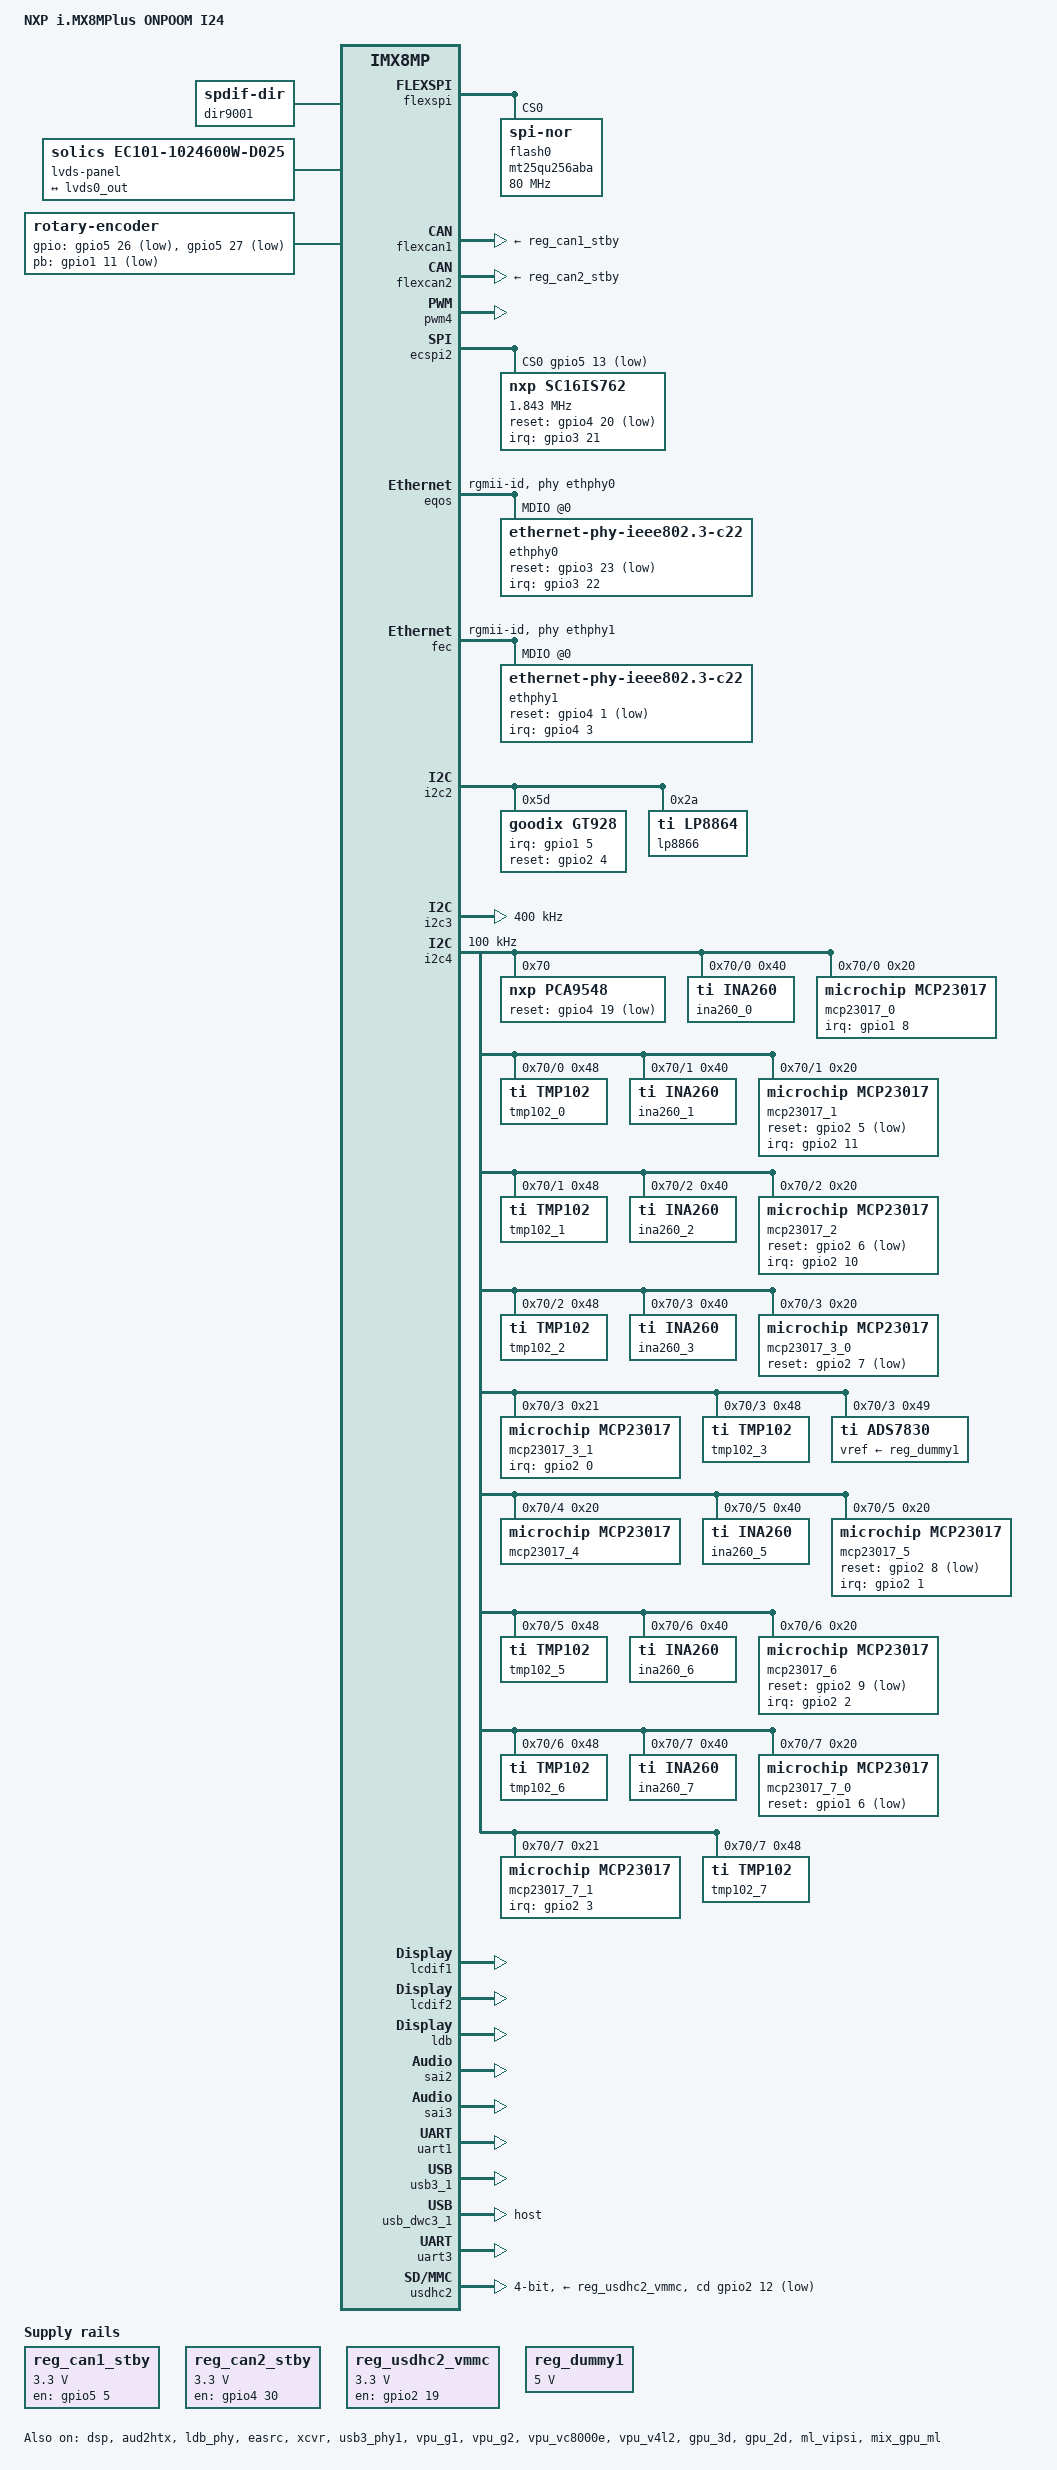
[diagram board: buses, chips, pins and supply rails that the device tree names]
// SPDX-License-Identifier: (GPL-2.0+ OR MIT)
/*
 * Copyright 2019 NXP
 * Copyright 2025 ONPOOM
 */

 /* TODO
  * 
  * [] 2026.01.30 - 노드 별 인터럽트 및 리셋 핀에 대한 PAD 설정 확인 (핀 민감도 제거 및 신호 안정성 적용 고려하여)
  *
  */

/dts-v1/;

#include "imx8mp-onpoom-som.dts"
#include <dt-bindings/leds/common.h>

/ {
	model = "NXP i.MX8MPlus ONPOOM I24";
	compatible = "fsl,imx8mp-evk", "fsl,imx8mp", "onpoom,imx8mp-onpoom-som";

	reg_can1_stby: regulator-can1-stby {
		compatible = "regulator-fixed";
		regulator-name = "can1-stby";
		pinctrl-names = "default";
		pinctrl-0 = <&pinctrl_flexcan1_reg>;
		regulator-min-microvolt = <3300000>;
		regulator-max-microvolt = <3300000>;
		gpio = <&gpio5 5 GPIO_ACTIVE_HIGH>;
		enable-active-high;
	};

	reg_can2_stby: regulator-can2-stby {
		compatible = "regulator-fixed";
		regulator-name = "can2-stby";
		pinctrl-names = "default";
		pinctrl-0 = <&pinctrl_flexcan2_reg>;
		regulator-min-microvolt = <3300000>;
		regulator-max-microvolt = <3300000>;
		gpio = <&gpio4 30 GPIO_ACTIVE_HIGH>;
		enable-active-high;
	};

	reg_usdhc2_vmmc: regulator-usdhc2 {
		compatible = "regulator-fixed";
		pinctrl-names = "default";
		pinctrl-0 = <&pinctrl_reg_usdhc2_vmmc>;
		regulator-name = "VSD2_3V3";
		regulator-min-microvolt = <3300000>;
		regulator-max-microvolt = <3300000>;
		gpio = <&gpio2 19 GPIO_ACTIVE_HIGH>;
		enable-active-high;
	};

    reg_dummy1: regulator-dummy1 {
        compatible = "regulator-fixed";
        regulator-name = "ads7830-vref";
        regulator-min-microvolt = <5000000>;
        regulator-max-microvolt = <5000000>;
    };

	// reg_panel_pwr: regulator-panel-pwr {
	// 	compatible = "regulator-fixed";
	// 	pinctrl-names = "default";
	// 	pinctrl-0 = <&pinctrl_panel_reg>;
	// 	regulator-name = "PANEL_PWR_1V8";
	// 	regulator-min-microvolt = <1800000>;
	// 	regulator-max-microvolt = <1800000>;
	// 	gpio = <&gpio2 4 GPIO_ACTIVE_HIGH>;
	// 	//gpio = <&gpio4 28 GPIO_ACTIVE_HIGH>;
	// 	//gpio = <&mcp23017_3 2 GPIO_ACTIVE_HIGH>;
	// 	// gpio = <&mcp23017_2 8 GPIO_ACTIVE_HIGH>;
	// 	enable-active-high;
	// };

	// max98357a: max98357a {
	// 	#sound-dai-cells = <0>;
	// 	compatible = "maxim,max98357a";
	// 	//pinctrl-names = "default";
	// 	//pinctrl-0;
	// 	//sdmode-gpios;
	// 	status = "okay";
	// };

	// sound-max98357a {
	// 	compatible = "simple-audio-card";
	// 	simple-audio-card,name = "max98357a-audio";
	// 	simple-audio-card,format = "i2s";
	// 	simple-audio-card,bitclock-master = <&sai3cpu>;
	// 	simple-audio-card,frame-master = <&sai3cpu>;
	// 	simple-audio-card,routing = 
	// 				"SD_MODE", "HiFi Playback",
	// 				"Speaker", "SD_MODE";

	// 	sai3cpu: simple-audio-card,cpu {
	// 		sound-dai = <&sai3>;
	// 	};

	// 	simple-audio-card,codec {
	// 		sound-dai = <&max98357a>;
	// 	};
	// };

    /* Monitor Speaker */
    bd28623: bd28623 {
		#sound-dai-cells = <0>;
        compatible = "rohm,bd28623";
        // reset-gpios = <&mcp23017_3_0 10 GPIO_ACTIVE_LOW>;
        // mute-gpios = <&mcp23017_3_0 9 GPIO_ACTIVE_LOW>;
    };

	sound-bd28623 {
		compatible = "simple-audio-card";
		simple-audio-card,name = "bd28623-audio";
		simple-audio-card,format = "i2s";
		simple-audio-card,bitclock-master = <&sai3cpu>;
		simple-audio-card,frame-master = <&sai3cpu>;

		sai3cpu: simple-audio-card,cpu {
			sound-dai = <&sai3>;
		};

		simple-audio-card,codec {
			sound-dai = <&bd28623>;
		};
	};

	// sound-adau1442 {
	// 	compatible = "simple-audio-card";
	// 	simple-audio-card,name = "adau1442-audio";
	// 	simple-audio-card,format = "i2s";
	// 	simple-audio-card,bitclock-master = <&sai3cpu>;
	// 	simple-audio-card,frame-master = <&sai3cpu>;

	// 	sai3cpu: simple-audio-card,cpu {
	// 		sound-dai = <&sai3>;
	// 	};

	// 	simple-audio-card,codec {
	// 		sound-dai = <&adau1442>;
	// 	};
	// };

	dir9001: dir9001 {
		#sound-dai-cells = <0>;
		compatible = "linux,spdif-dir";
		status = "okay";
	};

	sound-dir9001 {
		compatible = "simple-audio-card";
		simple-audio-card,name = "dir9001-audio";
		simple-audio-card,format = "i2s";
		simple-audio-card,bitclock-master = <&dir9001_codec>;
		simple-audio-card,frame-master = <&dir9001_codec>;
		/* Later, will add gpio control function,
		 * example, for i2s signal enable pin.
		 */
		simple-audio-card,routing = 
					"Capture", "spdif-in";

		simple-audio-card,cpu {
			sound-dai = <&sai2>;
		};

		dir9001_codec: simple-audio-card,codec {
			sound-dai = <&dir9001>;
		};
	};

	// sound-xcvr {
	// 	compatible = "fsl,imx-audio-card";
	// 	model = "imx-audio-xcvr";
	// 	pri-dai-link {
	// 		link-name = "XCVR PCM";
	// 		cpu {
	// 			sound-dai = <&xcvr>;
	// 		};
	// 	};
	// };
/*
	lvds_backlight: lvds_backlight {
		compatible = "pwm-backlight";
		pwms = <&pwm2 0 100000>;
		status = "disabled";

		brightness-levels = < 0  1  2  3  4  5  6  7  8  9
				     10 11 12 13 14 15 16 17 18 19
				     20 21 22 23 24 25 26 27 28 29
				     30 31 32 33 34 35 36 37 38 39
				     40 41 42 43 44 45 46 47 48 49
				     50 51 52 53 54 55 56 57 58 59
				     60 61 62 63 64 65 66 67 68 69
				     70 71 72 73 74 75 76 77 78 79
				     80 81 82 83 84 85 86 87 88 89
				     90 91 92 93 94 95 96 97 98 99
				    100>;
		default-brightness-level = <80>;
	};
*/
	lvds-panel {
		compatible = "solics,ec101-1024600w-d025";
		status = "okay";
		// power-supply = <&reg_panel_pwr>;

		port {
			lvds0_in: endpoint {
				remote-endpoint = <&lvds0_out>;
			};
		};
	};

	rotary-encoder {
		compatible = "rotary-encoder";
		pinctrl-names = "default";
		pinctrl-0 = <&pinctrl_rotary_encoder>;
		gpios = <&gpio5 26 GPIO_ACTIVE_LOW>, <&gpio5 27 GPIO_ACTIVE_LOW>;
		linux,axis = <0>;
		rotary-encoder,steps-per-period = <1>;
		rotary-encoder,encoding = "gray";
		rotary-encoder,relative-axis;
		rotary-encoder,push-button;
		pb-gpios = <&gpio1 11 GPIO_ACTIVE_LOW>;
	};
};

&pwm_leds {
	cpld-osc {
		label = "cpld-oscillator";
		pwms = <&pwm4 0 100000000>;
		max-brightness = <100>;
	};
};

&flexspi {
	pinctrl-names = "default";
	pinctrl-0 = <&pinctrl_flexspi0>;
	status = "okay";

	flash0: mt25qu256aba@0 {
		reg = <0>;
		#address-cells = <1>;
		#size-cells = <1>;
		compatible = "jedec,spi-nor";
		spi-max-frequency = <80000000>;
		spi-tx-bus-width = <1>;
		spi-rx-bus-width = <4>;
	};
};

&flexcan1 {
	pinctrl-names = "default";
	pinctrl-0 = <&pinctrl_flexcan1>;
	xceiver-supply = <&reg_can1_stby>;
	status = "okay";
};

&flexcan2 {
	pinctrl-names = "default";
	pinctrl-0 = <&pinctrl_flexcan2>;
	xceiver-supply = <&reg_can2_stby>;
	//pinctrl-assert-gpios = <&pca6416 3 GPIO_ACTIVE_HIGH>;
	status = "okay";/* can2 pin conflict with pdm */
};

&dsp {
	status = "okay";
};

&pwm4 {
	pinctrl-names = "default";
	pinctrl-0 = <&pinctrl_pwm4>;
	status = "okay";
};

&aud2htx {
	status = "okay";
};

&ecspi2 {
	#address-cells = <1>;
	#size-cells = <0>;
	fsl,spi-num-chipselects = <1>;
	pinctrl-names = "default";
	pinctrl-0 = <&pinctrl_ecspi2 &pinctrl_ecspi2_cs>;
	cs-gpios = <&gpio5 13 GPIO_ACTIVE_LOW>;
	status = "okay";

    sc16is762: sc16is762@0 {
        compatible = "nxp,sc16is762";
        pinctrl-names = "default";
        pinctrl-0 = <&pinctrl_sc16is762>;
        reg = <0>;
        clock-frequency = <1843200>;
        interrupt-parent = <&gpio3>;
        interrupts = <21 IRQ_TYPE_LEVEL_LOW>;
        reset-gpios = <&gpio4 20 GPIO_ACTIVE_LOW>;
        gpio-controller;
        #gpio-cells = <2>;
    };

	// gpiom1: gpio@0 {
	// 	reg = <0>;
	// 	compatible = "microchip,mcp23s17";
	// 	pinctrl-names = "default";
	// 	pinctrl-0 = <&pinctrl_mcp23s17>;
	// 	gpio-controller;
	// 	#gpio-cells = <2>;
	// 	/* for h/w address pin a2, a1, a0
	// 	 * if 0b100(a2(1), a1(0), a0(0)) excluded fixed-bit, 
	// 	 * address is 4, So, mask is 0b00010000 (4th bit to 1).
	// 	 * therefore, mask is 0x10.
	// 	 */
	// 	microchip,spi-present-mask = <0x10>;
	// 	//interrupt-parent;
	// 	//interrupts;
	// 	//microchip,irq-mirror;
	// 	reset-gpios = <&gpio4 24 GPIO_ACTIVE_LOW>;
	// 	spi-max-frequency = <1000000>;		/* 10mhz */
	// };
/*
	spidev1: spi@1 {
		reg = <1>;
		compatible = "rohm,dh2228fv";
	};
*/
};

&eqos {
	pinctrl-names = "default";
	pinctrl-0 = <&pinctrl_eqos>;
	phy-mode = "rgmii-id";
	phy-handle = <&ethphy0>;
	snps,force_thresh_dma_mode;
	snps,mtl-tx-config = <&mtl_tx_setup>;
	snps,mtl-rx-config = <&mtl_rx_setup>;
	status = "okay";

	mdio {
		compatible = "snps,dwmac-mdio";
		#address-cells = <1>;
		#size-cells = <0>;

		ethphy0: ethernet-phy@0 {
			compatible = "ethernet-phy-ieee802.3-c22";
			//reg = <0>;
            interrupt-parent = <&gpio3>;
            // interrupts = <22 IRQ_TYPE_EDGE_FALLING>;
            interrupts = <22 IRQ_TYPE_LEVEL_LOW>;
            // interrupt-parent = <&gpio4>;
            // interrupts = <3 IRQ_TYPE_EDGE_FALLING>;
			eee-broken-1000t;
			reset-gpios = <&gpio3 23 GPIO_ACTIVE_LOW>;
			reset-assert-us = <10000>;
			reset-deassert-us = <20000>;
			qca,disable-smarteee;
		};
	};

	mtl_tx_setup: tx-queues-config {
		snps,tx-queues-to-use = <5>;
		snps,tx-sched-sp;
		queue0 {
			snps,dcb-algorithm;
			snps,priority = <0x1>;
		};
		queue1 {
			snps,dcb-algorithm;
			snps,priority = <0x2>;
		};
		queue2 {
			snps,dcb-algorithm;
			snps,priority = <0x4>;
		};
		queue3 {
			snps,dcb-algorithm;
			snps,priority = <0x8>;
		};
		queue4 {
			snps,dcb-algorithm;
			snps,priority = <0xf0>;
		};
	};
	mtl_rx_setup: rx-queues-config {
		snps,rx-queues-to-use = <5>;
		snps,rx-sched-sp;
		queue0 {
			snps,dcb-algorithm;
			snps,priority = <0x1>;
			snps,map-to-dma-channel = <0>;
		};
		queue1 {
			snps,dcb-algorithm;
			snps,priority = <0x2>;
			snps,map-to-dma-channel = <1>;
		};
		queue2 {
			snps,dcb-algorithm;
			snps,priority = <0x4>;
			snps,map-to-dma-channel = <2>;
		};
		queue3 {
			snps,dcb-algorithm;
			snps,priority = <0x8>;
			snps,map-to-dma-channel = <3>;
		};
		queue4 {
			snps,dcb-algorithm;
			snps,priority = <0xf0>;
			snps,map-to-dma-channel = <4>;
		};
	};
};

&fec {
	pinctrl-names = "default";
	pinctrl-0 = <&pinctrl_fec>;
	phy-mode = "rgmii-id";
	phy-handle = <&ethphy1>;
	fsl,magic-packet;
	status = "okay";

	mdio {
		#address-cells = <1>;
		#size-cells = <0>;

		ethphy1: ethernet-phy@0 {
			compatible = "ethernet-phy-ieee802.3-c22";
			// reg = <4>;
            interrupt-parent = <&gpio4>;
            // interrupts = <3 IRQ_TYPE_EDGE_FALLING>;
            interrupts = <3 IRQ_TYPE_LEVEL_LOW>;
            // interrupt-parent = <&gpio3>;
            // interrupts = <22 IRQ_TYPE_EDGE_FALLING>;
			eee-broken-1000t;
			reset-gpios = <&gpio4 1 GPIO_ACTIVE_LOW>;
			reset-assert-us = <10000>;
			reset-deassert-us = <20000>;
			qca,disable-smarteee;
		};
	};
};

&i2c2 {
	gt928: touchscreen@5d {
		compatible = "goodix,gt928";
		reg = <0x5d>;
		pinctrl-names = "default";
		pinctrl-0 = <&pinctrl_ts>;
		interrupt-parent = <&gpio1>;
		interrupts = <5 IRQ_TYPE_EDGE_FALLING>;
		irq-gpios = <&gpio1 5 GPIO_ACTIVE_HIGH>;
        // interrupt-parent = <&gpio4>;
		// interrupts = <25 IRQ_TYPE_EDGE_FALLING>;
		// irq-gpios = <&gpio4 25 GPIO_ACTIVE_LOW>;
		reset-gpios = <&gpio2 4 GPIO_ACTIVE_HIGH>;
		//reset-gpios = <&gpio2 0 GPIO_ACTIVE_HIGH>;
		edge-failling-trigger;
		touchscreen-size-x = <1024>;
		touchscreen-size-y = <600>;
	};

	lp8866: led-driver@2a {
		compatible = "ti,lp8864";
		reg = <0x2a>;
		// pinctrl-names = "default";
        // enable-gpios = <&mcp23017_3_0 1 GPIO_ACTIVE_HIGH>;

        led {
            function = LED_FUNCTION_BACKLIGHT;
            color = <LED_COLOR_ID_WHITE>;
            linux,default-trigger = "backlight";
        };
	};
};

&i2c3 {
	clock-frequency = <400000>;
	pinctrl-names = "default";
	pinctrl-0 = <&pinctrl_i2c3>;
	status = "okay";

	adau1442: dsp@38 {
        #sound-dai-cells = <0>;
		compatible = "adi,adau1442";
		reg = <0x38>;
		pinctrl-names = "default";
        status = "disabled";
	};
};

&i2c4 {
	clock-frequency = <100000>;
	pinctrl-names = "default";
	pinctrl-0 = <&pinctrl_i2c4>;
	status = "okay";

	pca9548: i2c-mux@70 {
		compatible = "nxp,pca9548";
		#address-cells = <1>;
		#size-cells = <0>;
		reg = <0x70>;
		reset-gpios = <&gpio4 19 GPIO_ACTIVE_LOW>;
        idle-state;
		i2c-mux-idle-disconnect;		/* when devices are same addr, this option is useful. */

		/* MCU channel */
        /* i2c-6 */
		i2c@0 {
            #address-cells = <1>;
            #size-cells = <0>;
			reg = <0>;

			ina260_0: power-sensor@40 {
				compatible = "ti,ina260";
				reg = <0x40>;
			};

			/* Afterwards, the interrupt method is considered to change from edge to level because of numorous i2c-io expander. */
			/* labeling... */
			mcp23017_0: gpio@20 {
				compatible = "microchip,mcp23017";
				reg = <0x20>;
				pinctrl-name = "default";
				pinctrl-0 = <&pinctrl_mcp23017_0>;
				gpio-controller;
				#gpio-cells = <2>;
				interrupt-controller;
				#interrupt-cells = <2>;
				interrupt-parent = <&gpio1>;
				interrupts = <8 IRQ_TYPE_LEVEL_LOW>;
				// reset-gpios = <&gpio1 7 GPIO_ACTIVE_LOW>;
                drive-open-drain;
                microchip,irq-mirror;
                // gpio-line-names = 
                //     "a", "b", "c", "d", 
                //     "e", "f", "g", "h", 
                //     "i", "j", "k", "l", 
                //     "m", "n", "o", "p";
			};

			tmp102_0: temper-sensor@48 {
				compatible = "ti,tmp102";
				reg = <0x48>;
			};
		};

		/* SAT channel */
        /* i2c-7 */
		i2c@1 {
            #address-cells = <1>;
            #size-cells = <0>;
			reg = <1>;

			ina260_1: power-sensor@40 {
				compatible = "ti,ina260";
				reg = <0x40>;
			};

			mcp23017_1: gpio@20 {
				compatible = "microchip,mcp23017";
				reg = <0x20>;
				pinctrl-name = "default";
				pinctrl-0 = <&pinctrl_mcp23017_1>;
				gpio-controller;
				#gpio-cells = <2>;
				interrupt-controller;
				#interrupt-cells = <2>;
				interrupt-parent = <&gpio2>;
				interrupts = <11 IRQ_TYPE_LEVEL_LOW>;
				reset-gpios = <&gpio2 5 GPIO_ACTIVE_LOW>;
                drive-open-drain;
                microchip,irq-mirror;
                label = "mcp23017_1";
                // gpio-line-names = 
                //     "", "b", "c", "d", 
                //     "e", "f", "g", "h", 
                //     "i", "j", "k", "l", 
                //     "m", "n", "o", "p";
                // pins = "gpio0", "gpio1", "gio02", "io03", 
            //         "io04","io05", "io06", "gio07", 
            //         "io08","io09", "io10", "gio11", 
            //         "io12","io13", "io14", "io15";
			};

			tmp102_1: temper-sensor@48 {
				compatible = "ti,tmp102";
				reg = <0x48>;
			};
		};

		/* PMU channel */
        /* i2c-8 */
		i2c@2 {
            #address-cells = <1>;
            #size-cells = <0>;
			reg = <2>;

			ina260_2: power-sensor@40 {
				compatible = "ti,ina260";
				reg = <0x40>;
			};

			mcp23017_2: gpio@20 {
				compatible = "microchip,mcp23017";
				reg = <0x20>;
				pinctrl-name = "default";
				pinctrl-0 = <&pinctrl_mcp23017_2>;
				gpio-controller;
				#gpio-cells = <2>;
				interrupt-controller;
				#interrupt-cells = <2>;
				interrupt-parent = <&gpio2>;
				interrupts = <10 IRQ_TYPE_LEVEL_LOW>;
				reset-gpios = <&gpio2 6 GPIO_ACTIVE_LOW>;
                drive-open-drain;
                microchip,irq-mirror;
                // gpio-line-names = 
                //     "a", "b", "c", "d", 
                //     "e", "f", "g", "h", 
                //     "i", "j", "k", "l", 
                //     "m", "n", "o", "p";
			};

			tmp102_2: temper-sensor@48 {
				compatible = "ti,tmp102";
				reg = <0x48>;
			};
		};

		/* FCU channel */
        /* i2c-9 */
		i2c@3 {
            #address-cells = <1>;
            #size-cells = <0>;
			reg = <3>;

			ina260_3: power-sensor@40 {
				compatible = "ti,ina260";
				reg = <0x40>;
			};

			mcp23017_3_0: gpio@20 {
				compatible = "microchip,mcp23017";
				reg = <0x20>;
				// pinctrl-name = "default";
				// pinctrl-0 = <&pinctrl_mcp23017_3>;
				gpio-controller;
				#gpio-cells = <2>;
				// interrupt-controller;
				// #interrupt-cells = <2>;
				// interrupt-parent = <&gpio2>;
				// interrupts = <0 IRQ_TYPE_LEVEL_LOW>;
				reset-gpios = <&gpio2 7 GPIO_ACTIVE_LOW>;
                drive-open-drain;
                // microchip,irq-mirror;
			};

			mcp23017_3_1: gpio@21 {
				compatible = "microchip,mcp23017";
				reg = <0x21>;
				pinctrl-name = "default";
				pinctrl-0 = <&pinctrl_mcp23017_3>;
				gpio-controller;
				#gpio-cells = <2>;
				interrupt-controller;
				#interrupt-cells = <2>;
				interrupt-parent = <&gpio2>;
				interrupts = <0 IRQ_TYPE_LEVEL_LOW>;
				// reset-gpios = <&gpio2 7 GPIO_ACTIVE_LOW>;
                drive-open-drain;
                microchip,irq-mirror;
			};

			tmp102_3: temper-sensor@48 {
				compatible = "ti,tmp102";
				reg = <0x48>;
			};

            ads7830: adc@49 {
                compatible = "ti,ads7830";
                reg = <0x49>;
                vref-supply = <&reg_dummy1>;
            };
		};

		/* option channel */
        /* i2c-10 */
		i2c@4 {
            #address-cells = <1>;
            #size-cells = <0>;
			reg = <4>;

			mcp23017_4: gpio@20 {
				compatible = "microchip,mcp23017";
				reg = <0x20>;
				// pinctrl-name = "default";
				// pinctrl-0 = <&pinctrl_mcp23017_5>;
				gpio-controller;
				#gpio-cells = <2>;
				// interrupt-controller;
				// #interrupt-cells = <2>;
				// interrupt-parent = <&gpio2>;
				// interrupts = <1 IRQ_TYPE_EDGE_FALLING>;
				// reset-gpios = <&gpio2 8 GPIO_ACTIVE_LOW>;
			};
		};

		/* WTI channel */
        /* i2c-11 */
		i2c@5 {
            #address-cells = <1>;
            #size-cells = <0>;
			reg = <5>;

			ina260_5: power-sensor@40 {
				compatible = "ti,ina260";
				reg = <0x40>;
			};

			mcp23017_5: gpio@20 {
				compatible = "microchip,mcp23017";
				reg = <0x20>;
				pinctrl-name = "default";
				pinctrl-0 = <&pinctrl_mcp23017_5>;
				gpio-controller;
				#gpio-cells = <2>;
				interrupt-controller;
				#interrupt-cells = <2>;
				interrupt-parent = <&gpio2>;
				interrupts = <1 IRQ_TYPE_LEVEL_LOW>;
				reset-gpios = <&gpio2 8 GPIO_ACTIVE_LOW>;
                drive-open-drain;
                microchip,irq-mirror;
			};

			tmp102_5: temper-sensor@48 {
				compatible = "ti,tmp102";
				reg = <0x48>;
			};
		};

		/* WVU channel */
        /* 12c-12 */
		i2c@6 {
            #address-cells = <1>;
            #size-cells = <0>;
			reg = <6>;

			ina260_6: power-sensor@40 {
				compatible = "ti,ina260";
				reg = <0x40>;
			};

			mcp23017_6: gpio@20 {
				compatible = "microchip,mcp23017";
				reg = <0x20>;
				pinctrl-name = "default";
				pinctrl-0 = <&pinctrl_mcp23017_6>;
				gpio-controller;
				#gpio-cells = <2>;
				interrupt-controller;
				#interrupt-cells = <2>;
				interrupt-parent = <&gpio2>;
				interrupts = <2 IRQ_TYPE_LEVEL_LOW>;
				reset-gpios = <&gpio2 9 GPIO_ACTIVE_LOW>;
                drive-open-drain;
                microchip,irq-mirror;
			};

			tmp102_6: temper-sensor@48 {
				compatible = "ti,tmp102";
				reg = <0x48>;
			};
		};

		/* APU channel */
        /* 12c-13 */
		i2c@7 {
            #address-cells = <1>;
            #size-cells = <0>;
			reg = <7>;

			ina260_7: power-sensor@40 {
				compatible = "ti,ina260";
				reg = <0x40>;
                //status = "disabled";
			};

			mcp23017_7_0: gpio@20 {
				compatible = "microchip,mcp23017";
				reg = <0x20>;
				// pinctrl-name = "default";
				// pinctrl-0 = <&pinctrl_mcp23017_7>;
				gpio-controller;
				#gpio-cells = <2>;
				// interrupt-controller;
				// #interrupt-cells = <2>;
				// interrupt-parent = <&gpio2>;
				// interrupts = <3 IRQ_TYPE_LEVEL_LOW>;
				reset-gpios = <&gpio1 6 GPIO_ACTIVE_LOW>;
                drive-open-drain;
                // microchip,irq-mirror;
			};

			mcp23017_7_1: gpio@21 {
				compatible = "microchip,mcp23017";
				reg = <0x21>;
				pinctrl-name = "default";
				pinctrl-0 = <&pinctrl_mcp23017_7>;
				gpio-controller;
				#gpio-cells = <2>;
				interrupt-controller;
				#interrupt-cells = <2>;
				interrupt-parent = <&gpio2>;
				interrupts = <3 IRQ_TYPE_LEVEL_LOW>;
				// reset-gpios = <&gpio1 6 GPIO_ACTIVE_LOW>;
                drive-open-drain;
                microchip,irq-mirror;
			};

			tmp102_7: temper-sensor@48 {
				compatible = "ti,tmp102";
				reg = <0x48>;
			};
		};
	};
};

&irqsteer_hdmi {
	status = "disabled";
};

&hdmi_blk_ctrl {
	status = "disabled";
};

&hdmi_pavi {
	status = "disabled";
};

&hdmi {
	status = "disabled";
};

&hdmiphy {
	status = "disabled";
};

/* hdmi, mipi 관련 lcdif disabled 할 것 */
&lcdif1 {
	status = "okay";
};

&lcdif2 {
	status = "okay";
};

&lcdif3 {
	status = "disabled";

	thres-low  = <1 2>;             /* (FIFO * 1 / 2) */
	thres-high = <3 4>;             /* (FIFO * 3 / 4) */
};

&ldb {
	status = "okay";

	lvds-channel@0 {
		fsl,data-mapping = "spwg";
		fsl,data-width = <24>;
		status = "okay";

		port@1 {
			reg = <1>;

			lvds0_out: endpoint {
				remote-endpoint = <&lvds0_in>;
			};
		};
	};
};

&ldb_phy {
	status = "okay";
};

&easrc {
	fsl,asrc-rate  = <48000>;
	status = "okay";
};

&pcie {
	pinctrl-names = "default";
	pinctrl-0 = <&pinctrl_pcie>;
	//disable-gpio = <&gpio2 6 GPIO_ACTIVE_LOW>;
	//reset-gpio = <&gpio2 7 GPIO_ACTIVE_LOW>;
	ext_osc = <1>;
	clocks = <&clk IMX8MP_CLK_HSIO_ROOT>,
		 <&clk IMX8MP_CLK_PCIE_AUX>,
		 <&clk IMX8MP_CLK_HSIO_AXI>,
		 <&clk IMX8MP_CLK_PCIE_ROOT>;
	clock-names = "pcie", "pcie_aux", "pcie_phy", "pcie_bus";
	assigned-clocks = <&clk IMX8MP_CLK_HSIO_AXI>,
			  <&clk IMX8MP_CLK_PCIE_AUX>;
	assigned-clock-rates = <500000000>, <10000000>;
	assigned-clock-parents = <&clk IMX8MP_SYS_PLL2_500M>,
				 <&clk IMX8MP_SYS_PLL2_50M>;
	l1ss-disabled;
	status = "disabled";
};

&pcie_ep {
	pinctrl-names = "default";
	pinctrl-0 = <&pinctrl_pcie>;
	ext_osc = <1>;
	clocks = <&clk IMX8MP_CLK_HSIO_ROOT>,
		 <&clk IMX8MP_CLK_PCIE_AUX>,
		 <&clk IMX8MP_CLK_HSIO_AXI>,
		 <&clk IMX8MP_CLK_PCIE_ROOT>;
	clock-names = "pcie", "pcie_aux", "pcie_phy", "pcie_bus";
	assigned-clocks = <&clk IMX8MP_CLK_HSIO_AXI>,
			  <&clk IMX8MP_CLK_PCIE_AUX>;
	assigned-clock-rates = <500000000>, <10000000>;
	assigned-clock-parents = <&clk IMX8MP_SYS_PLL2_500M>,
				 <&clk IMX8MP_SYS_PLL2_50M>;
	status = "disabled";
};

&pcie_phy {
	ext_osc = <1>;
	status = "disabled";
};

&sai2 {
	#sound-dai-cells = <0>;
	pinctrl-names = "default";
	pinctrl-0 = <&pinctrl_sai2>;
	assigned-clocks = <&clk IMX8MP_CLK_SAI2>;
	assigned-clock-parents = <&clk IMX8MP_AUDIO_PLL1_OUT>;
	//assigned-clock-rates = <12288000>;
	assigned-clock-rates = <24576000>;
	/* if no output for spdif ic, should be enable. */
	//fsl,sai-mclk-direction-output;
	fsl,sai-asynchronous;
	status = "okay";
};

&sai3 {
	pinctrl-names = "default";
	pinctrl-0 = <&pinctrl_sai3>;
	/* refer to imx8mp clock tree 
	 * sai1 clock referenced by sai1~7 mclk2.
	 * so, for 44100Hz, sai1 clock enable aduio_pll2 as parents
	 */
	assigned-clocks = <&clk IMX8MP_CLK_SAI3>, <&clk IMX8MP_CLK_SAI1>;
	// assigned-clocks = <&clk IMX8MP_CLK_DUMMY>, <&clk IMX8MP_CLK_SAI1>;
	// assigned-clocks = <&clk IMX8MP_CLK_AUDIO_BLK_CTRL_SAI3_MCLK1>, <&clk IMX8MP_CLK_AUDIO_BLK_CTRL_SAI3_MCLK2>;
	assigned-clock-parents = <&clk IMX8MP_AUDIO_PLL1_OUT>, <&clk IMX8MP_AUDIO_PLL2_OUT>;
	// assigned-clock-parents = <&clk IMX8MP_CLK_DUMMY>, <&clk IMX8MP_AUDIO_PLL2_OUT>;
	assigned-clock-rates = <24576000>, <11289600>;
	//assigned-clock-rates = <11289600>;
	/*
	clocks = <&audio_blk_ctrl IMX8MP_CLK_AUDIO_BLK_CTRL_SAI3_IPG>, <&clk IMX8MP_CLK_DUMMY>,
		 <&audio_blk_ctrl IMX8MP_CLK_AUDIO_BLK_CTRL_SAI3_MCLK1>, <&clk IMX8MP_CLK_DUMMY>,
		 <&clk IMX8MP_CLK_DUMMY>;
	*/
	clocks = <&audio_blk_ctrl IMX8MP_CLK_AUDIO_BLK_CTRL_SAI3_IPG>, <&clk IMX8MP_CLK_DUMMY>,
		 <&audio_blk_ctrl IMX8MP_CLK_AUDIO_BLK_CTRL_SAI3_MCLK1>, <&audio_blk_ctrl IMX8MP_CLK_AUDIO_BLK_CTRL_SAI3_MCLK2>,
		 <&clk IMX8MP_CLK_DUMMY>;
	clock-names = "bus", "mclk0", "mclk1", "mclk2", "mclk3";
	// fsl,sai-mclk-direction-output;
	#sound-dai-cells = <0>;
	status = "okay";
};

&xcvr {
	#sound-dai-cells = <0>;
	status = "okay";
};

&sdma2 {
	status = "okay";
};

&uart1 {
	pinctrl-names = "default";
	pinctrl-0 = <&pinctrl_uart1>;
	assigned-clocks = <&clk IMX8MP_CLK_UART1>;
	assigned-clock-parents = <&clk IMX8MP_SYS_PLL1_80M>;
	//fsl,uart-has-rtscts;
	status = "okay";
};

&usb3_phy1 {
	fsl,phy-tx-preemp-amp-tune = <3>;
	fsl,phy-tx-vref-tune = <0xb>;
	status = "okay";
};

&usb3_1 {
	status = "okay";
};

&usb_dwc3_1 {
	pinctrl-names = "default";
	pinctrl-0 = <&pinctrl_usb1_vbus>;
	dr_mode = "host";
	status = "okay";
};

&uart3 {
	pinctrl-names = "default";
	pinctrl-0 = <&pinctrl_uart3>;
	assigned-clocks = <&clk IMX8MP_CLK_UART3>;
	assigned-clock-parents = <&clk IMX8MP_SYS_PLL1_80M>;
	//fsl,uart-has-rtscts;
	status = "okay";
};

&usdhc2 {
	assigned-clocks = <&clk IMX8MP_CLK_USDHC2>;
	assigned-clock-rates = <400000000>;
	pinctrl-names = "default", "state_100mhz", "state_200mhz";
	pinctrl-0 = <&pinctrl_usdhc2>, <&pinctrl_usdhc2_gpio>;
	pinctrl-1 = <&pinctrl_usdhc2_100mhz>, <&pinctrl_usdhc2_gpio>;
	pinctrl-2 = <&pinctrl_usdhc2_200mhz>, <&pinctrl_usdhc2_gpio>;
	cd-gpios = <&gpio2 12 GPIO_ACTIVE_LOW>;
	vmmc-supply = <&reg_usdhc2_vmmc>;
	bus-width = <4>;
	status = "okay";
};

&iomuxc {
	pinctrl-names = "default";
	pinctrl-0 = <&pinctrl_hog>;

	pinctrl_hog: hoggrp {
		fsl,pins = <
            MX8MP_IOMUXC_GPIO1_IO00__GPIO1_IO00     0x10        /* CPLD RESET */
            MX8MP_IOMUXC_GPIO1_IO13__GPIO1_IO13     0x10        /* USB_HUB_RST */
            MX8MP_IOMUXC_GPIO1_IO14__GPIO1_IO14     0x10        /* #AMP_RST_C */
            MX8MP_IOMUXC_SD2_WP__GPIO2_IO20         0x10        /* C_#AMP_MUTE */
            MX8MP_IOMUXC_SAI5_RXFS__GPIO3_IO19      0x10        /* CPU_PLD_OUT */
            MX8MP_IOMUXC_SAI5_RXC__GPIO3_IO20       0x10        /* CPU_PLD_IN */
            MX8MP_IOMUXC_HDMI_DDC_SCL__GPIO3_IO26   0x10        /* DI_EAU_0 */
            MX8MP_IOMUXC_HDMI_DDC_SDA__GPIO3_IO27   0x10        /* DI_EAU_1 */
            MX8MP_IOMUXC_HDMI_CEC__GPIO3_IO28       0x10        /* DI_EAU_3 */
            MX8MP_IOMUXC_HDMI_HPD__GPIO3_IO29       0x10        /* DI_EAU_2 */
            MX8MP_IOMUXC_SAI1_RXFS__GPIO4_IO00      0x10        /* SPARE_IN_1 */
            MX8MP_IOMUXC_SAI1_TXD6__GPIO4_IO18      0x10        /* AMP485_TX_EN */
            // MX8MP_IOMUXC_SAI1_MCLK__GPIO4_IO20      0x10        /* SPARE_IN_2 -> SPI_RST */
            MX8MP_IOMUXC_SAI2_TXFS__GPIO4_IO24      0x10        /* DSP_PWR_nEN */
            MX8MP_IOMUXC_SAI2_TXC__GPIO4_IO25       0x10        /* DO_EAU_2 */
            MX8MP_IOMUXC_SAI2_TXD0__GPIO4_IO26      0x10        /* #AC_CUT_C */
            MX8MP_IOMUXC_SAI3_RXFS__GPIO4_IO28      0x10        /* DO_EAU_1 */
            MX8MP_IOMUXC_SAI3_RXC__GPIO4_IO29       0x10        /* DO_EAU_0 */
            MX8MP_IOMUXC_ECSPI1_MISO__GPIO5_IO08    0x10        /* #ST_BY1_C */
            MX8MP_IOMUXC_ECSPI1_SS0__GPIO5_IO09     0x10        /* #ST_BY2_C */
            MX8MP_IOMUXC_SAI1_RXD0__GPIO4_IO02      0x10        /* CHAR_RST_FEED */
        >;
	};

	pinctrl_pwm4: pwm4grp {
		fsl,pins = <
			MX8MP_IOMUXC_GPIO1_IO15__PWM4_OUT	0x116
		>;
	};

	pinctrl_ecspi2: ecspi2grp {
		fsl,pins = <
			MX8MP_IOMUXC_ECSPI2_SCLK__ECSPI2_SCLK		0x82
			MX8MP_IOMUXC_ECSPI2_MOSI__ECSPI2_MOSI		0x82
			MX8MP_IOMUXC_ECSPI2_MISO__ECSPI2_MISO		0x82
		>;
	};

	pinctrl_ecspi2_cs: ecspi2cs {
		fsl,pins = <
			MX8MP_IOMUXC_ECSPI2_SS0__GPIO5_IO13		0x40000
		>;
	};

	pinctrl_eqos: eqosgrp {
		fsl,pins = <
			MX8MP_IOMUXC_ENET_MDC__ENET_QOS_MDC				0x2
			MX8MP_IOMUXC_ENET_MDIO__ENET_QOS_MDIO				0x2
			MX8MP_IOMUXC_ENET_RD0__ENET_QOS_RGMII_RD0			0x90
			MX8MP_IOMUXC_ENET_RD1__ENET_QOS_RGMII_RD1			0x90
			MX8MP_IOMUXC_ENET_RD2__ENET_QOS_RGMII_RD2			0x90
			MX8MP_IOMUXC_ENET_RD3__ENET_QOS_RGMII_RD3			0x90
			MX8MP_IOMUXC_ENET_RXC__CCM_ENET_QOS_CLOCK_GENERATE_RX_CLK	0x90
			MX8MP_IOMUXC_ENET_RX_CTL__ENET_QOS_RGMII_RX_CTL			0x90
			MX8MP_IOMUXC_ENET_TD0__ENET_QOS_RGMII_TD0			0x16
			MX8MP_IOMUXC_ENET_TD1__ENET_QOS_RGMII_TD1			0x16
			MX8MP_IOMUXC_ENET_TD2__ENET_QOS_RGMII_TD2			0x16
			MX8MP_IOMUXC_ENET_TD3__ENET_QOS_RGMII_TD3			0x16
			MX8MP_IOMUXC_ENET_TX_CTL__ENET_QOS_RGMII_TX_CTL			0x16
			MX8MP_IOMUXC_ENET_TXC__CCM_ENET_QOS_CLOCK_GENERATE_TX_CLK	0x16
			MX8MP_IOMUXC_SAI5_RXD2__GPIO3_IO23		0x80    /* Reset */     /* HYS + Slow Slew */
            MX8MP_IOMUXC_SAI5_RXD1__GPIO3_IO22      0x80    /* Interrupt */ /* HYS  + Slow Slew */
		>;
	};

	pinctrl_fec: fecgrp {
		fsl,pins = <
			MX8MP_IOMUXC_SAI1_RXD2__ENET1_MDC		0x2
			MX8MP_IOMUXC_SAI1_RXD3__ENET1_MDIO		0x2
			MX8MP_IOMUXC_SAI1_RXD4__ENET1_RGMII_RD0		0x90
			MX8MP_IOMUXC_SAI1_RXD5__ENET1_RGMII_RD1		0x90
			MX8MP_IOMUXC_SAI1_RXD6__ENET1_RGMII_RD2		0x90
			MX8MP_IOMUXC_SAI1_RXD7__ENET1_RGMII_RD3		0x90
			MX8MP_IOMUXC_SAI1_TXC__ENET1_RGMII_RXC		0x90
			MX8MP_IOMUXC_SAI1_TXFS__ENET1_RGMII_RX_CTL	0x90
			MX8MP_IOMUXC_SAI1_TXD0__ENET1_RGMII_TD0		0x16
			MX8MP_IOMUXC_SAI1_TXD1__ENET1_RGMII_TD1		0x16
			MX8MP_IOMUXC_SAI1_TXD2__ENET1_RGMII_TD2		0x16
			MX8MP_IOMUXC_SAI1_TXD3__ENET1_RGMII_TD3		0x16
			MX8MP_IOMUXC_SAI1_TXD4__ENET1_RGMII_TX_CTL	0x16
			MX8MP_IOMUXC_SAI1_TXD5__ENET1_RGMII_TXC		0x16
			MX8MP_IOMUXC_SAI1_RXC__GPIO4_IO01		0x80    /* Reset */
            MX8MP_IOMUXC_SAI1_RXD1__GPIO4_IO03      0x80    /* Interrupt */
		>;
	};

    pinctrl_pcie: pciegrp {
        fsl,pins = <
        >;
    };

	pinctrl_flexcan1: flexcan1grp {
		fsl,pins = <
			MX8MP_IOMUXC_SPDIF_RX__CAN1_RX          0x154
			MX8MP_IOMUXC_SPDIF_TX__CAN1_TX          0x154
		>;
	};

	pinctrl_flexcan2: flexcan2grp {
		fsl,pins = <
			MX8MP_IOMUXC_SAI5_MCLK__CAN2_RX         0x154
			MX8MP_IOMUXC_SAI5_RXD3__CAN2_TX         0x154
		>;
	};

	pinctrl_flexcan1_reg: flexcan1reggrp {
		fsl,pins = <
			MX8MP_IOMUXC_SPDIF_EXT_CLK__GPIO5_IO05  0x154   /* CAN1_STBY */
		>;
	};

	pinctrl_flexcan2_reg: flexcan2reggrp {
		fsl,pins = <
			MX8MP_IOMUXC_SAI3_RXD__GPIO4_IO30  	   0x154	/* CAN2_STBY */
		>;
	};

	// pinctrl_panel_reg: panelreggrp {
	// 	fsl,pins = <
	// 		MX8MP_IOMUXC_SD1_DATA2__GPIO2_IO04		0x10
	// 	>;
	// };

	pinctrl_flexspi0: flexspi0grp {
		fsl,pins = <
			MX8MP_IOMUXC_NAND_ALE__FLEXSPI_A_SCLK           0x1c2
			MX8MP_IOMUXC_NAND_CE0_B__FLEXSPI_A_SS0_B        0x82
			MX8MP_IOMUXC_NAND_DATA00__FLEXSPI_A_DATA00      0x82
			MX8MP_IOMUXC_NAND_DATA01__FLEXSPI_A_DATA01      0x82
			MX8MP_IOMUXC_NAND_DATA02__FLEXSPI_A_DATA02      0x82
			MX8MP_IOMUXC_NAND_DATA03__FLEXSPI_A_DATA03      0x82
		>;
	};

	pinctrl_i2c3: i2c3grp {
		fsl,pins = <
			// MX8MP_IOMUXC_I2C3_SCL__I2C3_SCL		0x400001c2
			// MX8MP_IOMUXC_I2C3_SDA__I2C3_SDA		0x400001c2
			MX8MP_IOMUXC_I2C3_SCL__I2C3_SCL		0x400000c2
			MX8MP_IOMUXC_I2C3_SDA__I2C3_SDA		0x400000c2
		>;
	};

	pinctrl_i2c4: i2c4grp {
		fsl,pins = <
			// MX8MP_IOMUXC_I2C4_SCL__I2C4_SCL		0x400001c2
			// MX8MP_IOMUXC_I2C4_SDA__I2C4_SDA		0x400001c2
			MX8MP_IOMUXC_I2C4_SCL__I2C4_SCL		0x400000c2
			MX8MP_IOMUXC_I2C4_SDA__I2C4_SDA		0x400000c2
		>;
	};

	pinctrl_sai2: sai2grp {
		fsl,pins = <
			MX8MP_IOMUXC_SAI2_RXD0__AUDIOMIX_SAI2_RX_DATA00	0xd6
			MX8MP_IOMUXC_SAI2_RXC__AUDIOMIX_SAI2_RX_BCLK	0xd6
			MX8MP_IOMUXC_SAI2_RXFS__AUDIOMIX_SAI2_RX_SYNC	0xd6
			MX8MP_IOMUXC_SAI2_MCLK__AUDIOMIX_SAI2_MCLK		0xd6
		>;
	};

	pinctrl_sai3: sai3grp {
		fsl,pins = <
			MX8MP_IOMUXC_SAI3_TXFS__AUDIOMIX_SAI3_TX_SYNC	0xd6
			MX8MP_IOMUXC_SAI3_TXC__AUDIOMIX_SAI3_TX_BCLK	0xd6
			MX8MP_IOMUXC_SAI3_TXD__AUDIOMIX_SAI3_TX_DATA00	0xd6
			MX8MP_IOMUXC_SAI3_MCLK__AUDIOMIX_SAI3_MCLK	0xd6
		>;
	};

	pinctrl_uart1: uart1grp {
		fsl,pins = <
			MX8MP_IOMUXC_UART1_RXD__UART1_DCE_RX	0x140
			MX8MP_IOMUXC_UART1_TXD__UART1_DCE_TX	0x140
		>;
	};

	pinctrl_uart3: uart3grp {
		fsl,pins = <
			MX8MP_IOMUXC_ECSPI1_SCLK__UART3_DCE_RX		0x140
			MX8MP_IOMUXC_ECSPI1_MOSI__UART3_DCE_TX		0x140
		>;
	};

	pinctrl_usb1_vbus: usb1grp {
		fsl,pins = <
			MX8MP_IOMUXC_GPIO1_IO12__GPIO1_IO12		0x10
		>;
	};

	pinctrl_usdhc2: usdhc2grp {
		fsl,pins = <
			MX8MP_IOMUXC_SD2_CLK__USDHC2_CLK	0x190
			MX8MP_IOMUXC_SD2_CMD__USDHC2_CMD	0x1d0
			MX8MP_IOMUXC_SD2_DATA0__USDHC2_DATA0	0x1d0
			MX8MP_IOMUXC_SD2_DATA1__USDHC2_DATA1	0x1d0
			MX8MP_IOMUXC_SD2_DATA2__USDHC2_DATA2	0x1d0
			MX8MP_IOMUXC_SD2_DATA3__USDHC2_DATA3	0x1d0
			MX8MP_IOMUXC_GPIO1_IO04__USDHC2_VSELECT	0xc0
		>;
	};

	pinctrl_usdhc2_100mhz: usdhc2-100mhzgrp {
		fsl,pins = <
			MX8MP_IOMUXC_SD2_CLK__USDHC2_CLK	0x194
			MX8MP_IOMUXC_SD2_CMD__USDHC2_CMD	0x1d4
			MX8MP_IOMUXC_SD2_DATA0__USDHC2_DATA0	0x1d4
			MX8MP_IOMUXC_SD2_DATA1__USDHC2_DATA1	0x1d4
			MX8MP_IOMUXC_SD2_DATA2__USDHC2_DATA2	0x1d4
			MX8MP_IOMUXC_SD2_DATA3__USDHC2_DATA3	0x1d4
			MX8MP_IOMUXC_GPIO1_IO04__USDHC2_VSELECT 0xc0
		>;
	};

	pinctrl_usdhc2_200mhz: usdhc2-200mhzgrp {
		fsl,pins = <
			MX8MP_IOMUXC_SD2_CLK__USDHC2_CLK	0x196
			MX8MP_IOMUXC_SD2_CMD__USDHC2_CMD	0x1d6
			MX8MP_IOMUXC_SD2_DATA0__USDHC2_DATA0	0x1d6
			MX8MP_IOMUXC_SD2_DATA1__USDHC2_DATA1	0x1d6
			MX8MP_IOMUXC_SD2_DATA2__USDHC2_DATA2	0x1d6
			MX8MP_IOMUXC_SD2_DATA3__USDHC2_DATA3	0x1d6
			MX8MP_IOMUXC_GPIO1_IO04__USDHC2_VSELECT 0xc0
		>;
	};

	pinctrl_usdhc2_gpio: usdhc2gpiogrp {
		fsl,pins = <
			MX8MP_IOMUXC_SD2_CD_B__GPIO2_IO12	0x1c4
		>;
	};

	pinctrl_reg_usdhc2_vmmc: regusdhc2vmmcgrp {
		fsl,pins = <
			MX8MP_IOMUXC_SD2_RESET_B__GPIO2_IO19	0x40
		>;
	};

	pinctrl_ts: tsgrp {
		fsl,pins = <
            MX8MP_IOMUXC_GPIO1_IO05__GPIO1_IO05     0x10
            MX8MP_IOMUXC_SD1_DATA2__GPIO2_IO04      0x10
		>;
	};

	pinctrl_rotary_encoder: rotaryencodergrp {
		fsl,pins = <
			MX8MP_IOMUXC_UART3_RXD__GPIO5_IO26		0x10	/* CLK_A_ROTARY */
			MX8MP_IOMUXC_UART3_TXD__GPIO5_IO27		0x10	/* CLK_B_ROTARY */
			MX8MP_IOMUXC_GPIO1_IO11__GPIO1_IO11		0x10	/* nPUSH_ROTARY */
		>;
	};

	/* MCU channel */
	pinctrl_mcp23017_0: mcp23017-0grp {
		fsl,pins = <
			MX8MP_IOMUXC_GPIO1_IO08__GPIO1_IO08		0x10	/* I2C_IO_INT */
			MX8MP_IOMUXC_GPIO1_IO07__GPIO1_IO07		0x10	/* I2C_IO_RST */
		>;
	};

	/* SAT channel */
	pinctrl_mcp23017_1: mcp23017-1grp {
		fsl,pins = <
			MX8MP_IOMUXC_SD1_STROBE__GPIO2_IO11		0x10	/* SAT_I2C_nINT */
			MX8MP_IOMUXC_SD1_DATA3__GPIO2_IO05		0x10	/* SAT_I2C_nRST */
		>;
	};

	/* PMU channel */
	pinctrl_mcp23017_2: mcp23017-2grp {
		fsl,pins = <
			MX8MP_IOMUXC_SD1_RESET_B__GPIO2_IO10	0x10	/* PMU_I2C_nINT */
			MX8MP_IOMUXC_SD1_DATA4__GPIO2_IO06		0x10	/* PMU_I2C_nRST */
		>;
	};

	/* FCU channel */
	pinctrl_mcp23017_3: mcp23017-3grp {
		fsl,pins = <
			MX8MP_IOMUXC_SD1_CLK__GPIO2_IO00		0x10	/* FCU_I2C_nINT */
			MX8MP_IOMUXC_SD1_DATA5__GPIO2_IO07		0x10	/* FCU_I2C_nRST */
		>;
	};

	/* WTI channel */
	pinctrl_mcp23017_5: mcp23017-5grp {
		fsl,pins = <
			MX8MP_IOMUXC_SD1_CMD__GPIO2_IO01		0x10	/* WTI_I2C_nINT */
			MX8MP_IOMUXC_SD1_DATA6__GPIO2_IO08		0x10	/* WTI_I2C_nRST */
		>;
	};

	/* WVU channel */
	pinctrl_mcp23017_6: mcp23017-6grp {
		fsl,pins = <
			MX8MP_IOMUXC_SD1_DATA0__GPIO2_IO02		0x10	/* WVU_I2C_nINT */
			MX8MP_IOMUXC_SD1_DATA7__GPIO2_IO09		0x10	/* WVU_I2C_nRST */
		>;
	};

	/* APU channel */
	pinctrl_mcp23017_7: mcp23017-7grp {
		fsl,pins = <
			MX8MP_IOMUXC_SD1_DATA1__GPIO2_IO03		0x10	/* APU_I2C_nINT */
			MX8MP_IOMUXC_GPIO1_IO06__GPIO1_IO06		0x10	/* APU_I2C_nRST */
		>;
	};

    pinctrl_sc16is762: sc16is762grp {
        fsl,pins = <
            MX8MP_IOMUXC_SAI5_RXD0__GPIO3_IO21      0x80    /* SPI_INT */
            MX8MP_IOMUXC_SAI1_MCLK__GPIO4_IO20      0x80    /* SPI_RST */
        >;
    };
};

&vpu_g1 {
	status = "okay";
};

&vpu_g2 {
	status = "okay";
};

&vpu_vc8000e {
	status = "okay";
};

&vpu_v4l2 {
	status = "okay";
};

&gpu_3d {
	status = "okay";
};

&gpu_2d {
	status = "okay";
};

&ml_vipsi {
	status = "okay";
};

&mix_gpu_ml {
	status = "okay";
};
